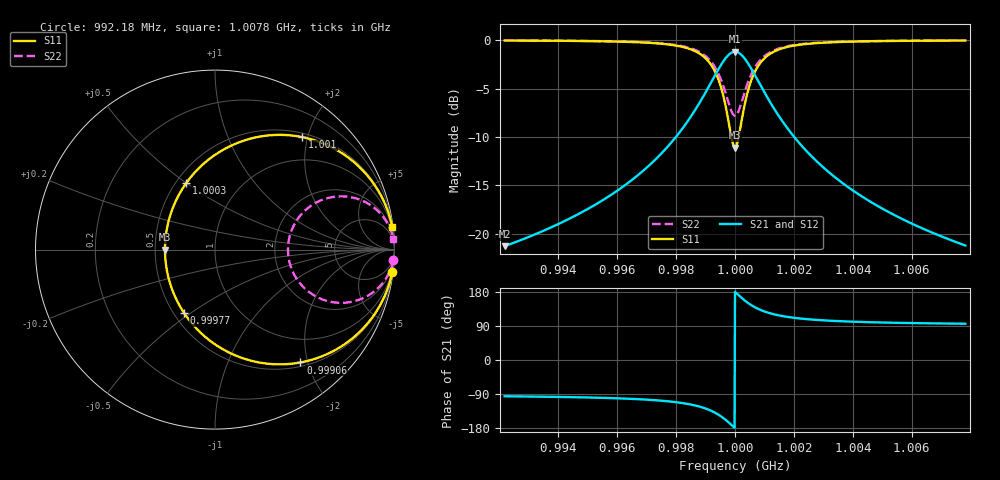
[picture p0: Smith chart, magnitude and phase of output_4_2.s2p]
! File generated for n1 = 4, n2 = 2
! b1 = 10.000000
! b2 = 4.641589
! Q0 = 10000.000000
! f0 = 1000000000.000000
! n = 1001
! rel_span = 10.000000
# Hz S RI R 50
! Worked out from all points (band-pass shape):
!   1001 points, 992.18 MHz to 1.0078 GHz, reference 50 ohm
!   highest |S21| = -1.20 dB at 1 GHz (marker M1); lowest = -21.3 dB at 992.18 MHz (marker M2)
!   |S21| within 3 dB of the highest: 999.2201 MHz to 1.000781 GHz (1.56 MHz wide, 0.156 % of centre)
!   lowest |S11| = -11.1 dB at 1 GHz (marker M3), VSWR 1.77, Z = 28.2 + j0 ohm
!   |S11| at or under -10 dB: 999.8768 MHz to 1.000123 GHz (246.4 kHz wide, 0.0246 % of centre)
!   |S22| runs from -7.8 to 0.0 dB; largest |S21 - S12| = 0
!   S11 on the Smith chart (normalised r, x): 992.18 MHz: 1, -16; 999.06 MHz: 0.56, -1.88; 999.77 MHz: 0.56, -0.47; 1.0003 GHz: 0.56, +0.50; 1.001 GHz: 0.56, +1.91; 1.0078 GHz: 1, +16
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9.921792e8  0.9874 -0.1261  -0.00856 -0.0859  -0.00856 -0.0859  0.9942 -0.0585
9.947914e8  0.972 -0.1873  -0.0191 -0.1276  -0.0191 -0.1276  0.987 -0.0869
9.974035e8  0.8939 -0.3527  -0.0723 -0.2403  -0.0723 -0.2403  0.9508 -0.1637
9.984046e8  0.7526 -0.5051  -0.1686 -0.3441  -0.1686 -0.3441  0.8852 -0.2344
9.987643e8  0.6346 -0.5777  -0.2489 -0.3936  -0.2489 -0.3936  0.8304 -0.2681
9.990615e8  0.4763 -0.6288  -0.3568 -0.4284  -0.3568 -0.4284  0.7569 -0.2919
9.994525e8  0.142 -0.6008  -0.5845 -0.4093  -0.5845 -0.4093  0.6018 -0.2788
9.99609e8  -0.0228 -0.5115  -0.6968 -0.3485  -0.6968 -0.3485  0.5252 -0.2374
9.997654e8  -0.173 -0.352  -0.7992 -0.2398  -0.7992 -0.2398  0.4555 -0.1634
9.999062e8  -0.2605 -0.1513  -0.8588 -0.1031  -0.8588 -0.1031  0.4149 -0.0702
1e9  -0.2786 0  -0.8711 0  -0.8711 0  0.4065 0
1.000125e9  -0.2467 0.1995  -0.8494 0.1359  -0.8494 0.1359  0.4213 0.0926
1.00025e9  -0.1599 0.3711  -0.7902 0.2528  -0.7902 0.2528  0.4616 0.1723
1.000391e9  -0.023 0.5114  -0.697 0.3484  -0.697 0.3484  0.5252 0.2374
1.000547e9  0.1417 0.6006  -0.5848 0.4092  -0.5848 0.4092  0.6016 0.2788
1.00072e9  0.3073 0.6371  -0.472 0.434  -0.472 0.434  0.6785 0.2957
1.000954e9  0.4859 0.6269  -0.3503 0.4271  -0.3503 0.4271  0.7614 0.291
1.001251e9  0.6405 0.5748  -0.2449 0.3916  -0.2449 0.3916  0.8331 0.2668
1.001611e9  0.7558 0.5026  -0.1663 0.3424  -0.1663 0.3424  0.8867 0.2333
1.002612e9  0.8946 0.3517  -0.0718 0.2396  -0.0718 0.2396  0.9511 0.1633
1.005224e9  0.9718 0.1877  -0.0192 0.1279  -0.0192 0.1279  0.9869 0.0871
1.007821e9  0.9872 0.1271  -0.00869 0.0866  -0.00869 0.0866  0.9941 0.059
